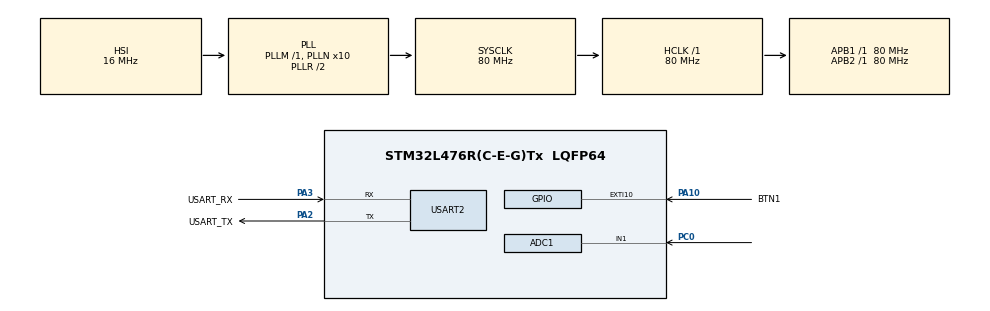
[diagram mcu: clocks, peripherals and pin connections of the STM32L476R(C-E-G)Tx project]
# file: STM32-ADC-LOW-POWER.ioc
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ADC1.Channel-0\#ChannelRegularConversion=ADC_CHANNEL_1
ADC1.ClockPrescaler=ADC_CLOCK_ASYNC_DIV1
ADC1.ContinuousConvMode=DISABLE
ADC1.ExternalTrigConv=ADC_SOFTWARE_START
ADC1.NbrOfConversion=1
ADC1.NbrOfConversionFlag=1
ADC1.OffsetNumber-0\#ChannelRegularConversion=ADC_OFFSET_NONE
ADC1.Overrun=ADC_OVR_DATA_OVERWRITTEN
ADC1.OversamplingMode=DISABLE
ADC1.Rank-0\#ChannelRegularConversion=1
ADC1.SamplingTime-0\#ChannelRegularConversion=ADC_SAMPLETIME_24CYCLES_5
ADC1.master=1
Mcu.Family=STM32L4
Mcu.Name=STM32L476R(C-E-G)Tx
Mcu.Package=LQFP64
NVIC.EXTI15_10_IRQn=true\:0\:0\:false\:false\:true\:true\:true\:true
NVIC.PriorityGroup=NVIC_PRIORITYGROUP_4
NVIC.TIM6_DAC_IRQn=true\:0\:0\:false\:false\:true\:true\:true\:true
PA10.GPIO_Label=BTN1
PA10.GPIO_PuPd=GPIO_PULLUP
PA10.Signal=GPXTI10
PA13\ (JTMS-SWDIO).GPIO_Label=TMS
PA13\ (JTMS-SWDIO).Mode=Serial_Wire
PA13\ (JTMS-SWDIO).Signal=SYS_JTMS-SWDIO
PA14\ (JTCK-SWCLK).GPIO_Label=TCK
PA14\ (JTCK-SWCLK).Mode=Serial_Wire
PA14\ (JTCK-SWCLK).Signal=SYS_JTCK-SWCLK
PA2.GPIO_Label=USART_TX
PA2.GPIO_Mode=GPIO_MODE_AF_PP
PA2.GPIO_PuPd=GPIO_NOPULL
PA2.GPIO_Speed=GPIO_SPEED_FREQ_VERY_HIGH
PA2.Mode=Asynchronous
PA2.Signal=USART2_TX
PA3.GPIO_Label=USART_RX
PA3.GPIO_Mode=GPIO_MODE_AF_PP
PA3.GPIO_PuPd=GPIO_NOPULL
PA3.GPIO_Speed=GPIO_SPEED_FREQ_VERY_HIGH
PA3.Mode=Asynchronous
PA3.Signal=USART2_RX
PB3\ (JTDO-TRACESWO).GPIO_Label=SWO
PB3\ (JTDO-TRACESWO).Signal=SYS_JTDO-SWO
PC0.Signal=ADCx_IN1
PC14-OSC32_IN\ (PC14).Mode=LSE-External-Oscillator
PC14-OSC32_IN\ (PC14).Signal=RCC_OSC32_IN
PC15-OSC32_OUT\ (PC15).Mode=LSE-External-Oscillator
PC15-OSC32_OUT\ (PC15).Signal=RCC_OSC32_OUT
PH0-OSC_IN\ (PH0).Signal=RCC_OSC_IN
PH1-OSC_OUT\ (PH1).Signal=RCC_OSC_OUT
ProjectManager.HeapSize=0x200
ProjectManager.StackSize=0x400
ProjectManager.TargetToolchain=STM32CubeIDE
RCC.ADCFreq_Value=64000000
RCC.AHBFreq_Value=80000000
RCC.APB1Freq_Value=80000000
RCC.APB1TimFreq_Value=80000000
RCC.APB2Freq_Value=80000000
RCC.APB2TimFreq_Value=80000000
RCC.CortexFreq_Value=80000000
RCC.HCLKFreq_Value=80000000
RCC.HSE_VALUE=8000000
RCC.HSI_VALUE=16000000
RCC.MSI_VALUE=4000000
RCC.PLLN=10
RCC.PLLSourceVirtual=RCC_PLLSOURCE_HSI
RCC.PREFETCH_ENABLE=1
RCC.SYSCLKFreq_VALUE=80000000
RCC.SYSCLKSource=RCC_SYSCLKSOURCE_PLLCLK
RCC.USBFreq_Value=64000000
RCC.VCOOutputFreq_Value=160000000
SH.ADCx_IN1.0=ADC1_IN1,IN1-Single-Ended
TIM6.Period=99
TIM6.Prescaler=7999
USART2.VirtualMode-Asynchronous=VM_ASYNC
VP_TIM6_VS_ClockSourceINT.Mode=Enable_Timer
board=NUCLEO-L476RG

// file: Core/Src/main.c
/* USER CODE BEGIN Header */
/**
  ******************************************************************************
  * @file           : main.c
  * @brief          : Main program body
  ******************************************************************************
  * @attention
  *
  * Copyright (c) 2026 STMicroelectronics.
  * All rights reserved.
  *
  * This software is licensed under terms that can be found in the LICENSE file
  * in the root directory of this software component.
  * If no LICENSE file comes with this software, it is provided AS-IS.
  *
  ******************************************************************************
  */
/* USER CODE END Header */
#include "main.h"

/* USER CODE BEGIN Includes */
#include "stdio.h"
#include "app.h"
#include "logger.h"
#include "adc.h"
/* USER CODE END Includes */

/* USER CODE BEGIN PD */
#define MEASURE_PERIOD_MS 10 //miliseconds
#define TEST_TIME 5000 //miliseconds
/* USER CODE END PD */

ADC_HandleTypeDef hadc1;

TIM_HandleTypeDef htim6;

UART_HandleTypeDef huart2;

/* USER CODE BEGIN PV */
static volatile uint8_t measure = 0;
static volatile uint8_t run = 0;
static volatile uint8_t test_complete = 1;
static volatile uint32_t tick = 0;
static volatile uint32_t last_tick = 0;
/* USER CODE END PV */

void SystemClock_Config(void);
static void MX_GPIO_Init(void);
static void MX_USART2_UART_Init(void);
static void MX_ADC1_Init(void);
static void MX_TIM6_Init(void);

int main(void)
{

  /* MCU Configuration--------------------------------------------------------*/

  /* Reset of all peripherals, Initializes the Flash interface and the Systick. */
  HAL_Init();

  /* Configure the system clock */
  SystemClock_Config();

  /* Initialize all configured peripherals */
  MX_GPIO_Init();
  MX_USART2_UART_Init();
  MX_ADC1_Init();
  MX_TIM6_Init();
  /* USER CODE BEGIN 2 */
  app_init(&hadc1, &huart2);

  adc_results_t result_table[TEST_TIME/MEASURE_PERIOD_MS];
  uint32_t run_time = 0;
  uint8_t measurement_complete = 0;
  uint16_t index = 0;
  /* USER CODE END 2 */

  /* Infinite loop */
  /* USER CODE BEGIN WHILE */
  while (1)
  {
	  tick = HAL_GetTick();
	  if (run)
	  {
		  run = 0;
		  test_complete = 0;

		  HAL_TIM_Base_Start_IT(&htim6);
		  logger_sendln("Run start");
	  }
	  if (measure)
	  {
		  measure = 0;

		  if (index < (sizeof(result_table)/sizeof(result_table[0])))
		  {
			  result_table[index] = app_run();
		  }
		  run_time += MEASURE_PERIOD_MS;
		  ++index;
	  }
	  if (run_time >= TEST_TIME)
	  {
		  measurement_complete = 1;

		  run_time = 0;
		  index = 0;
		  HAL_TIM_Base_Stop_IT(&htim6);
		  logger_sendln("Run stop");
	  }
	  if (measurement_complete)
	  {
		  measurement_complete = 0;

		  logger_sendln("t_ms,raw,filtered,percent");
		  char text_buffer[32];
		  for (uint16_t i = 0; i < (sizeof(result_table)/sizeof(result_table[0])); i++)
		  {
			  snprintf(text_buffer, sizeof(text_buffer), "%ld,%04d,%04d,%u",
					  (uint32_t)((i + 1) * MEASURE_PERIOD_MS), result_table[i].raw, result_table[i].filtered, result_table[i].percent);
			  logger_sendln(text_buffer);
		  }
		  app_restore_init_state();
		  test_complete = 1;
	  }
    /* USER CODE END WHILE */

  }
}

void SystemClock_Config(void)
{
  RCC_OscInitTypeDef RCC_OscInitStruct = {0};
  RCC_ClkInitTypeDef RCC_ClkInitStruct = {0};

  /** Configure the main internal regulator output voltage
  */
  if (HAL_PWREx_ControlVoltageScaling(PWR_REGULATOR_VOLTAGE_SCALE1) != HAL_OK)
  {
    Error_Handler();
  }

  /** Initializes the RCC Oscillators according to the specified parameters
  * in the RCC_OscInitTypeDef structure.
  */
  RCC_OscInitStruct.OscillatorType = RCC_OSCILLATORTYPE_HSI;
  RCC_OscInitStruct.HSIState = RCC_HSI_ON;
  RCC_OscInitStruct.HSICalibrationValue = RCC_HSICALIBRATION_DEFAULT;
  RCC_OscInitStruct.PLL.PLLState = RCC_PLL_ON;
  RCC_OscInitStruct.PLL.PLLSource = RCC_PLLSOURCE_HSI;
  RCC_OscInitStruct.PLL.PLLM = 1;
  RCC_OscInitStruct.PLL.PLLN = 10;
  RCC_OscInitStruct.PLL.PLLP = RCC_PLLP_DIV7;
  RCC_OscInitStruct.PLL.PLLQ = RCC_PLLQ_DIV2;
  RCC_OscInitStruct.PLL.PLLR = RCC_PLLR_DIV2;
  if (HAL_RCC_OscConfig(&RCC_OscInitStruct) != HAL_OK)
  {
    Error_Handler();
  }

  /** Initializes the CPU, AHB and APB buses clocks
  */
  RCC_ClkInitStruct.ClockType = RCC_CLOCKTYPE_HCLK|RCC_CLOCKTYPE_SYSCLK
                              |RCC_CLOCKTYPE_PCLK1|RCC_CLOCKTYPE_PCLK2;
  RCC_ClkInitStruct.SYSCLKSource = RCC_SYSCLKSOURCE_PLLCLK;
  RCC_ClkInitStruct.AHBCLKDivider = RCC_SYSCLK_DIV1;
  RCC_ClkInitStruct.APB1CLKDivider = RCC_HCLK_DIV1;
  RCC_ClkInitStruct.APB2CLKDivider = RCC_HCLK_DIV1;

  if (HAL_RCC_ClockConfig(&RCC_ClkInitStruct, FLASH_LATENCY_4) != HAL_OK)
  {
    Error_Handler();
  }
}

static void MX_ADC1_Init(void)
{

  ADC_MultiModeTypeDef multimode = {0};
  ADC_ChannelConfTypeDef sConfig = {0};

  /** Common config
  */
  hadc1.Instance = ADC1;
  hadc1.Init.ClockPrescaler = ADC_CLOCK_ASYNC_DIV1;
  hadc1.Init.Resolution = ADC_RESOLUTION_12B;
  hadc1.Init.DataAlign = ADC_DATAALIGN_RIGHT;
  hadc1.Init.ScanConvMode = ADC_SCAN_DISABLE;
  hadc1.Init.EOCSelection = ADC_EOC_SINGLE_CONV;
  hadc1.Init.LowPowerAutoWait = DISABLE;
  hadc1.Init.ContinuousConvMode = DISABLE;
  hadc1.Init.NbrOfConversion = 1;
  hadc1.Init.DiscontinuousConvMode = DISABLE;
  hadc1.Init.ExternalTrigConv = ADC_SOFTWARE_START;
  hadc1.Init.ExternalTrigConvEdge = ADC_EXTERNALTRIGCONVEDGE_NONE;
  hadc1.Init.DMAContinuousRequests = DISABLE;
  hadc1.Init.Overrun = ADC_OVR_DATA_OVERWRITTEN;
  hadc1.Init.OversamplingMode = DISABLE;
  if (HAL_ADC_Init(&hadc1) != HAL_OK)
  {
    Error_Handler();
  }

  /** Configure the ADC multi-mode
  */
  multimode.Mode = ADC_MODE_INDEPENDENT;
  if (HAL_ADCEx_MultiModeConfigChannel(&hadc1, &multimode) != HAL_OK)
  {
    Error_Handler();
  }

  /** Configure Regular Channel
  */
  sConfig.Channel = ADC_CHANNEL_1;
  sConfig.Rank = ADC_REGULAR_RANK_1;
  sConfig.SamplingTime = ADC_SAMPLETIME_24CYCLES_5;
  sConfig.SingleDiff = ADC_SINGLE_ENDED;
  sConfig.OffsetNumber = ADC_OFFSET_NONE;
  sConfig.Offset = 0;
  if (HAL_ADC_ConfigChannel(&hadc1, &sConfig) != HAL_OK)
  {
    Error_Handler();
  }

}

static void MX_TIM6_Init(void)
{

  TIM_MasterConfigTypeDef sMasterConfig = {0};

  htim6.Instance = TIM6;
  htim6.Init.Prescaler = 7999;
  htim6.Init.CounterMode = TIM_COUNTERMODE_UP;
  htim6.Init.Period = 99;
  htim6.Init.AutoReloadPreload = TIM_AUTORELOAD_PRELOAD_DISABLE;
  if (HAL_TIM_Base_Init(&htim6) != HAL_OK)
  {
    Error_Handler();
  }
  sMasterConfig.MasterOutputTrigger = TIM_TRGO_RESET;
  sMasterConfig.MasterSlaveMode = TIM_MASTERSLAVEMODE_DISABLE;
  if (HAL_TIMEx_MasterConfigSynchronization(&htim6, &sMasterConfig) != HAL_OK)
  {
    Error_Handler();
  }

}

static void MX_USART2_UART_Init(void)
{

  huart2.Instance = USART2;
  huart2.Init.BaudRate = 115200;
  huart2.Init.WordLength = UART_WORDLENGTH_8B;
  huart2.Init.StopBits = UART_STOPBITS_1;
  huart2.Init.Parity = UART_PARITY_NONE;
  huart2.Init.Mode = UART_MODE_TX_RX;
  huart2.Init.HwFlowCtl = UART_HWCONTROL_NONE;
  huart2.Init.OverSampling = UART_OVERSAMPLING_16;
  huart2.Init.OneBitSampling = UART_ONE_BIT_SAMPLE_DISABLE;
  huart2.AdvancedInit.AdvFeatureInit = UART_ADVFEATURE_NO_INIT;
  if (HAL_UART_Init(&huart2) != HAL_OK)
  {
    Error_Handler();
  }

}

static void MX_GPIO_Init(void)
{
  GPIO_InitTypeDef GPIO_InitStruct = {0};

  /* GPIO Ports Clock Enable */
  __HAL_RCC_GPIOC_CLK_ENABLE();
  __HAL_RCC_GPIOH_CLK_ENABLE();
  __HAL_RCC_GPIOA_CLK_ENABLE();
  __HAL_RCC_GPIOB_CLK_ENABLE();

  /*Configure GPIO pin : BTN1_Pin */
  GPIO_InitStruct.Pin = BTN1_Pin;
  GPIO_InitStruct.Mode = GPIO_MODE_IT_RISING;
  GPIO_InitStruct.Pull = GPIO_PULLUP;
  HAL_GPIO_Init(BTN1_GPIO_Port, &GPIO_InitStruct);

  /* EXTI interrupt init*/
  HAL_NVIC_SetPriority(EXTI15_10_IRQn, 0, 0);
  HAL_NVIC_EnableIRQ(EXTI15_10_IRQn);

}

/* USER CODE BEGIN 4 */
void HAL_TIM_PeriodElapsedCallback(TIM_HandleTypeDef *htim)
{
    if (htim->Instance == TIM6) {
        ++measure;
    }
}

void HAL_GPIO_EXTI_Callback(uint16_t GPIO_Pin)
{
	if ((last_tick + 200) < tick)
	{
		if (GPIO_Pin == BTN1_Pin && test_complete)
		{
			++run;
		}
		last_tick = tick;
	}
}

/* USER CODE END 4 */

void Error_Handler(void)
{
  __disable_irq();
  while (1)
  {
  }
}
